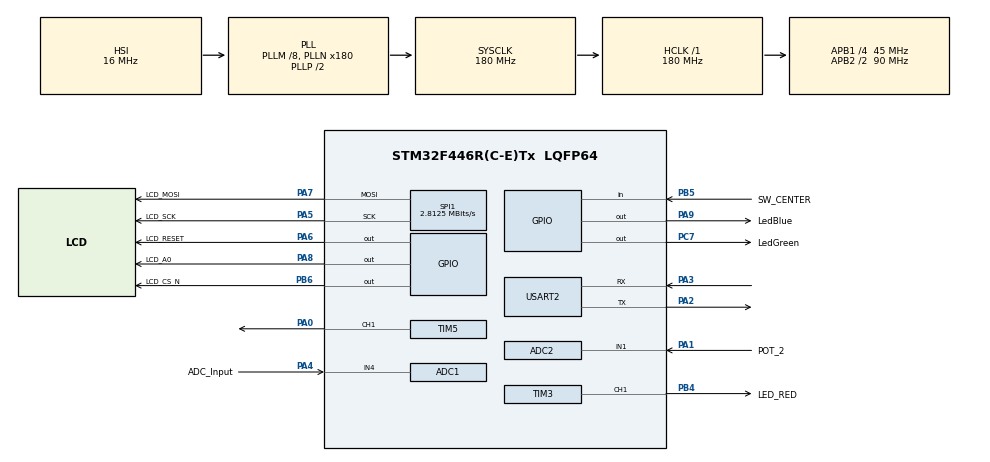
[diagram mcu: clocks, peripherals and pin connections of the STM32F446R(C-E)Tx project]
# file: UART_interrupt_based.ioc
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ADC1.Channel-0\#ChannelRegularConversion=ADC_CHANNEL_4
ADC1.ClockPrescaler=ADC_CLOCK_SYNC_PCLK_DIV4
ADC1.ContinuousConvMode=ENABLE
ADC1.DMAContinuousRequests=DISABLE
ADC1.DataAlign=ADC_DATAALIGN_RIGHT
ADC1.DiscontinuousConvMode=DISABLE
ADC1.EOCSelection=ADC_EOC_SEQ_CONV
ADC1.EnableAnalogWatchDog=false
ADC1.ExternalTrigConv=ADC_SOFTWARE_START
ADC1.ExternalTrigConvEdge=ADC_EXTERNALTRIGCONVEDGE_NONE
ADC1.InjNumberOfConversion=0
ADC1.NbrOfConversion=1
ADC1.NbrOfConversionFlag=1
ADC1.Rank-0\#ChannelRegularConversion=1
ADC1.Resolution=ADC_RESOLUTION_12B
ADC1.SamplingTime-0\#ChannelRegularConversion=ADC_SAMPLETIME_3CYCLES
ADC1.ScanConvMode=DISABLE
ADC1.master=1
ADC2.Channel-0\#ChannelRegularConversion=ADC_CHANNEL_1
ADC2.ClockPrescaler=ADC_CLOCK_SYNC_PCLK_DIV4
ADC2.ContinuousConvMode=ENABLE
ADC2.DMAContinuousRequests=DISABLE
ADC2.DataAlign=ADC_DATAALIGN_RIGHT
ADC2.DiscontinuousConvMode=DISABLE
ADC2.EOCSelection=ADC_EOC_SEQ_CONV
ADC2.EnableAnalogWatchDog=false
ADC2.ExternalTrigConv=ADC_SOFTWARE_START
ADC2.ExternalTrigConvEdge=ADC_EXTERNALTRIGCONVEDGE_NONE
ADC2.InjNumberOfConversion=0
ADC2.NbrOfConversion=1
ADC2.NbrOfConversionFlag=1
ADC2.Rank-0\#ChannelRegularConversion=1
ADC2.Resolution=ADC_RESOLUTION_12B
ADC2.SamplingTime-0\#ChannelRegularConversion=ADC_SAMPLETIME_3CYCLES
ADC2.ScanConvMode=DISABLE
Dma.Request0=USART2_TX
Dma.USART2_TX.0.Direction=DMA_MEMORY_TO_PERIPH
Dma.USART2_TX.0.FIFOMode=DMA_FIFOMODE_DISABLE
Dma.USART2_TX.0.Instance=DMA1_Stream6
Dma.USART2_TX.0.MemDataAlignment=DMA_MDATAALIGN_BYTE
Dma.USART2_TX.0.MemInc=DMA_MINC_ENABLE
Dma.USART2_TX.0.Mode=DMA_NORMAL
Dma.USART2_TX.0.PeriphDataAlignment=DMA_PDATAALIGN_BYTE
Dma.USART2_TX.0.PeriphInc=DMA_PINC_DISABLE
Dma.USART2_TX.0.Priority=DMA_PRIORITY_MEDIUM
Mcu.Family=STM32F4
Mcu.Name=STM32F446R(C-E)Tx
Mcu.Package=LQFP64
NVIC.ADC_IRQn=true\:1\:0\:true\:false\:true\:true
NVIC.DMA1_Stream6_IRQn=true\:0\:0\:false\:false\:true\:false
NVIC.PriorityGroup=NVIC_PRIORITYGROUP_4
NVIC.TIM5_IRQn=true\:1\:0\:true\:false\:true\:true
PA0-WKUP.Signal=S_TIM5_CH1
PA1.GPIO_Label=POT_2
PA1.Signal=ADCx_IN1
PA13.Mode=Serial_Wire
PA13.Signal=SYS_JTMS-SWDIO
PA14.Mode=Serial_Wire
PA14.Signal=SYS_JTCK-SWCLK
PA2.Mode=Asynchronous
PA2.Signal=USART2_TX
PA3.Mode=Asynchronous
PA3.Signal=USART2_RX
PA4.GPIO_Label=ADC_Input
PA4.Signal=ADCx_IN4
PA5.GPIO_Label=LCD_SCK
PA5.Mode=TX_Only_Simplex_Unidirect_Master
PA5.Signal=SPI1_SCK
PA6.GPIO_Label=LCD_RESET
PA6.Signal=GPIO_Output
PA7.GPIO_Label=LCD_MOSI
PA7.Mode=TX_Only_Simplex_Unidirect_Master
PA7.Signal=SPI1_MOSI
PA8.GPIO_Label=LCD_A0
PA8.Signal=GPIO_Output
PA9.GPIO_Label=LedBlue
PA9.GPIO_Speed=GPIO_SPEED_FREQ_HIGH
PA9.PinState=GPIO_PIN_RESET
PA9.Signal=GPIO_Output
PB4.GPIO_Label=LED_RED
PB4.Signal=S_TIM3_CH1
PB5.GPIO_Label=SW_CENTER
PB5.Signal=GPIO_Input
PB6.GPIO_Label=LCD_CS_N
PB6.Signal=GPIO_Output
PC7.GPIO_Label=LedGreen
PC7.Signal=GPIO_Output
PH0-OSC_IN.Mode=HSE-External-Oscillator
PH0-OSC_IN.Signal=RCC_OSC_IN
PH1-OSC_OUT.Mode=HSE-External-Oscillator
PH1-OSC_OUT.Signal=RCC_OSC_OUT
ProjectManager.HeapSize=0x200
ProjectManager.StackSize=0x400
ProjectManager.TargetToolchain=MDK-ARM V5
RCC.AHBFreq_Value=180000000
RCC.APB1CLKDivider=RCC_HCLK_DIV4
RCC.APB1Freq_Value=45000000
RCC.APB1TimFreq_Value=90000000
RCC.APB2CLKDivider=RCC_HCLK_DIV2
RCC.APB2Freq_Value=90000000
RCC.APB2TimFreq_Value=180000000
RCC.CortexFreq_Value=180000000
RCC.HCLKFreq_Value=180000000
RCC.PLLM=8
RCC.PLLN=180
RCC.SYSCLKFreq_VALUE=180000000
RCC.SYSCLKSource=RCC_SYSCLKSOURCE_PLLCLK
RCC.USBFreq_Value=180000000
RCC.VCOOutputFreq_Value=360000000
SH.ADCx_IN1.0=ADC2_IN1,IN1
SH.ADCx_IN4.0=ADC1_IN4,IN4
SH.S_TIM3_CH1.0=TIM3_CH1,PWM Generation1 CH1
SH.S_TIM5_CH1.0=TIM5_CH1,Output Compare1 CH1
SPI1.BaudRatePrescaler=SPI_BAUDRATEPRESCALER_32
SPI1.CalculateBaudRate=2.8125 MBits/s
SPI1.Direction=SPI_DIRECTION_2LINES
SPI1.Mode=SPI_MODE_MASTER
SPI1.VirtualType=VM_MASTER
TIM3.Channel-PWM\ Generation1\ CH1=TIM_CHANNEL_1
TIM3.OCPolarity_1=TIM_OCPOLARITY_LOW
TIM3.Period=1000-1
TIM3.Prescaler=900-1
TIM5.Channel-Output\ Compare1\ CH1=TIM_CHANNEL_1
TIM5.Prescaler=900-1
USART2.VirtualMode=VM_ASYNC
VP_TIM5_VS_ClockSourceINT.Mode=Internal
board=custom

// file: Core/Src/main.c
/**
  ******************************************************************************
  * @file           : main.c
  * @brief          : Main program body
  ******************************************************************************
  ** This notice applies to any and all portions of this file
  * that are not between comment pairs USER CODE BEGIN and
  * USER CODE END. Other portions of this file, whether
  * inserted by the user or by software development tools
  * are owned by their respective copyright owners.
  *
  * COPYRIGHT(c) 2018 STMicroelectronics
  *
  * Redistribution and use in source and binary forms, with or without modification,
  * are permitted provided that the following conditions are met:
  *   1. Redistributions of source code must retain the above copyright notice,
  *      this list of conditions and the following disclaimer.
  *   2. Redistributions in binary form must reproduce the above copyright notice,
  *      this list of conditions and the following disclaimer in the documentation
  *      and/or other materials provided with the distribution.
  *   3. Neither the name of STMicroelectronics nor the names of its contributors
  *      may be used to endorse or promote products derived from this software
  *      without specific prior written permission.
  *
  * THIS SOFTWARE IS PROVIDED BY THE COPYRIGHT HOLDERS AND CONTRIBUTORS "AS IS"
  * AND ANY EXPRESS OR IMPLIED WARRANTIES, INCLUDING, BUT NOT LIMITED TO, THE
  * IMPLIED WARRANTIES OF MERCHANTABILITY AND FITNESS FOR A PARTICULAR PURPOSE ARE
  * DISCLAIMED. IN NO EVENT SHALL THE COPYRIGHT HOLDER OR CONTRIBUTORS BE LIABLE
  * FOR ANY DIRECT, INDIRECT, INCIDENTAL, SPECIAL, EXEMPLARY, OR CONSEQUENTIAL
  * DAMAGES (INCLUDING, BUT NOT LIMITED TO, PROCUREMENT OF SUBSTITUTE GOODS OR
  * SERVICES; LOSS OF USE, DATA, OR PROFITS; OR BUSINESS INTERRUPTION) HOWEVER
  * CAUSED AND ON ANY THEORY OF LIABILITY, WHETHER IN CONTRACT, STRICT LIABILITY,
  * OR TORT (INCLUDING NEGLIGENCE OR OTHERWISE) ARISING IN ANY WAY OUT OF THE USE
  * OF THIS SOFTWARE, EVEN IF ADVISED OF THE POSSIBILITY OF SUCH DAMAGE.
  *
  ******************************************************************************
  */
#include "main.h"
#include "stm32f4xx_hal.h"
#include "adc.h"
#include "dma.h"
#include "spi.h"
#include "tim.h"
#include "usart.h"
#include "gpio.h"

/* USER CODE BEGIN Includes */
#include "interface_ADC_pincinato.h"
#include "interface_USART_pincinato.h"
#include "lcd_pincinato.h"
#include "stdio.h"
#include "string.h"
#include "stdbool.h"
#include "structs_pincinato.h"
/* USER CODE END Includes */

/* USER CODE BEGIN PV */
/* Private variables ---------------------------------------------------------*/
//#define POT_1_HANDLE hadc1
#define POT_2_HANDLE hadc2

/* USER CODE END PV */

void SystemClock_Config(void);

/* USER CODE BEGIN PFP */
/* Private function prototypes -----------------------------------------------*/
void ClearString(void);
 bool getAdcValue(ADC_HandleTypeDef* hadc,uint32_t * const data);
/* USER CODE END PFP */

int main(void)
{
  /* USER CODE BEGIN 1 */
  static uint32_t adc_in;
  /* USER CODE END 1 */

  /* MCU Configuration----------------------------------------------------------*/

  /* Reset of all peripherals, Initializes the Flash interface and the Systick. */
  HAL_Init();

  /* Configure the system clock */
  SystemClock_Config();

  /* Initialize all configured peripherals */
  MX_GPIO_Init();
  MX_DMA_Init();
  MX_SPI1_Init();
  MX_USART2_UART_Init();
  MX_ADC2_Init();
  MX_ADC1_Init();
  MX_TIM3_Init();
  MX_TIM5_Init();

  /* Infinite loop */
  /* USER CODE BEGIN WHILE */
	HAL_TIM_Base_Start(&htim3);
	HAL_TIM_PWM_Start(&htim3,TIM_CHANNEL_1);
	HAL_GPIO_WritePin(LedBlue_GPIO_Port,LedBlue_Pin,GPIO_PIN_SET);
	HAL_GPIO_WritePin(LedGreen_GPIO_Port,LedGreen_Pin,GPIO_PIN_SET);
	Table myTable;
	initTable(&myTable);
	initInterface(&myTable,&huart2);
	initLCD();
	initADCInterface();
	setFs(10);
	startADCInterface();
  while (1)
  {
  /* USER CODE END WHILE */

  /* USER CODE BEGIN 3 */

	check_RX();
	 if(getADCValue (&adc_in)){
				drawEachPixelGraph(adc_in);
			}
	//HAL_Delay(10);
	}
  /* USER CODE END 3 */

}

void SystemClock_Config(void)
{

  RCC_OscInitTypeDef RCC_OscInitStruct;
  RCC_ClkInitTypeDef RCC_ClkInitStruct;

    /**Configure the main internal regulator output voltage
    */
  __HAL_RCC_PWR_CLK_ENABLE();

  __HAL_PWR_VOLTAGESCALING_CONFIG(PWR_REGULATOR_VOLTAGE_SCALE1);

    /**Initializes the CPU, AHB and APB busses clocks
    */
  RCC_OscInitStruct.OscillatorType = RCC_OSCILLATORTYPE_HSI;
  RCC_OscInitStruct.HSIState = RCC_HSI_ON;
  RCC_OscInitStruct.HSICalibrationValue = 16;
  RCC_OscInitStruct.PLL.PLLState = RCC_PLL_ON;
  RCC_OscInitStruct.PLL.PLLSource = RCC_PLLSOURCE_HSI;
  RCC_OscInitStruct.PLL.PLLM = 8;
  RCC_OscInitStruct.PLL.PLLN = 180;
  RCC_OscInitStruct.PLL.PLLP = RCC_PLLP_DIV2;
  RCC_OscInitStruct.PLL.PLLQ = 2;
  RCC_OscInitStruct.PLL.PLLR = 2;
  if (HAL_RCC_OscConfig(&RCC_OscInitStruct) != HAL_OK)
  {
    _Error_Handler(__FILE__, __LINE__);
  }

    /**Activate the Over-Drive mode
    */
  if (HAL_PWREx_EnableOverDrive() != HAL_OK)
  {
    _Error_Handler(__FILE__, __LINE__);
  }

    /**Initializes the CPU, AHB and APB busses clocks
    */
  RCC_ClkInitStruct.ClockType = RCC_CLOCKTYPE_HCLK|RCC_CLOCKTYPE_SYSCLK
                              |RCC_CLOCKTYPE_PCLK1|RCC_CLOCKTYPE_PCLK2;
  RCC_ClkInitStruct.SYSCLKSource = RCC_SYSCLKSOURCE_PLLCLK;
  RCC_ClkInitStruct.AHBCLKDivider = RCC_SYSCLK_DIV1;
  RCC_ClkInitStruct.APB1CLKDivider = RCC_HCLK_DIV4;
  RCC_ClkInitStruct.APB2CLKDivider = RCC_HCLK_DIV2;

  if (HAL_RCC_ClockConfig(&RCC_ClkInitStruct, FLASH_LATENCY_5) != HAL_OK)
  {
    _Error_Handler(__FILE__, __LINE__);
  }

    /**Configure the Systick interrupt time
    */
  HAL_SYSTICK_Config(HAL_RCC_GetHCLKFreq()/1000);

    /**Configure the Systick
    */
  HAL_SYSTICK_CLKSourceConfig(SYSTICK_CLKSOURCE_HCLK);

  /* SysTick_IRQn interrupt configuration */
  HAL_NVIC_SetPriority(SysTick_IRQn, 0, 0);
}

/* USER CODE BEGIN 4 */

bool getAdcValue(ADC_HandleTypeDef* hadc, uint32_t * const data){

		HAL_StatusTypeDef adcStatus;
		HAL_ADC_Start(hadc);
		adcStatus= HAL_ADC_PollForConversion(hadc,100);
		if (adcStatus != HAL_OK) {
			return false;
		}
		else {
			*data= HAL_ADC_GetValue(hadc);
			return true;
		}
}

/* USER CODE END 4 */

void _Error_Handler(char *file, int line)
{
  while(1)
  {
  }
}

/************************ (C) COPYRIGHT STMicroelectronics *****END OF FILE****/
